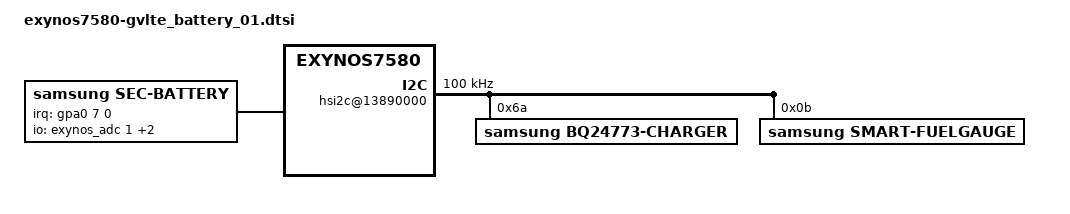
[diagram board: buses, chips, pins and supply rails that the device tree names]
/*
 * SAMSUNG UNIVERSAL7580 board device tree source
 *
 * Copyright (c) 2013 Samsung Electronics Co., Ltd.
 *		http://www.samsung.com
 *
 * This program is free software; you can redistribute it and/or modify
 * it under the terms of the GNU General Public License version 2 as
 * published by the Free Software Foundation.
*/

/ {
	pinctrl@139B0000{
		cable_irq: cable-irq {
			samsung,pins = "gpa0-7";
			samsung,pin-function = <0>;
			samsung,pin-pud = <0>;
			samsung,pin-drv = <0>;
		};
		jig_irq: jig-irq {
			samsung,pins = "gpa0-5";
			samsung,pin-function = <0>;
			samsung,pin-pud = <0>;
			samsung,pin-drv = <0>;
		};
	};

	pinctrl@139C0000 {
		otg_en: otg-en {
			samsung,pins = "gpd1-5";
			samsung,pin-function = <1>;
			samsung,pin-pud = <0>;
		};
        };

	battery {
		status = "okay";
		compatible = "samsung,sec-battery";
		pinctrl-names = "default";
		pinctrl-0 = <&cable_irq>, <&jig_irq>;
		interrupt-parent = <&gpa0>;
		interrupts = <7 0 0>, <5 0 0>;
		battery,cable_irq = <&gpa0 7 0>;
		battery,jig_irq = <&gpa0 5 0>;
		battery,vendor = "SDI SDI";
		battery,charger_name = "bq24773-charger";
		battery,fuelgauge_name = "smart-fuelgauge";
		battery,technology = <2>; /* POWER_SUPPLY_TECHNOLOGY_LION */

		battery,chip_vendor = "LSI";
		battery,temp_adc_type = <1>; /* SEC_BATTERY_ADC_TYPE_AP */

		battery,polling_time = <10 30 30 30 3600>;
		battery,chg_temp_check = <0>;

		battery,input_current_limit = <1600 1000 0 1600 460 900 1000 460 1000 0 820 1900 1800 0 0 400 700 1300 300 1000 1500 0 1667 1000 1667 80 1800 1667 1400 1000 1000>;
		battery,fast_charging_current = <1728 0 0 1728 460 1200 1000 460 1200 0 1200 1600 2100 0 0 400 700 1300 300 1000 1500 0 2600 1000 2600 80 1800 1000 1400 0 1000>;
		battery,full_check_current_1st = <500 0 0 500 500 500 500 500 500 0 500 500 500 0 0 500 500 500 500 500 500 0 500 500 500 0 500 500 500 0 500>;
		battery,full_check_current_2nd = <150 0 0 150 150 150 150 150 150 0 150 150 150 0 0 150 150 150 150 150 150 0 150 150 150 0 150 150 150 0 150>;

		battery,adc_check_count = <5>;

		battery,inbat_voltage = <1>;

		battery,inbat_voltage_table_adc = <3057 2954 2850 2747 2644 2540 2438 2335 2229 2024 1818 1612 1405 1197 987>;
		battery,inbat_voltage_table_data = <1300 1250 1200 1150 1100 1050 1000 950 900 800 700 600 500 400 300>;

		battery,cable_check_type = <8>; /* SEC_BATTERY_CABLE_CHECK_INT */
		battery,cable_source_type = <1>; /* SEC_BATTERY_CABLE_SOURCE_EXTERNAL */
		battery,event_waiting_time = <600>;
		battery,polling_type = <1>; /* SEC_BATTERY_MONITOR_ALARM */
		battery,monitor_initial_count = <0>;

		battery,battery_check_type = <0>; /* SEC_BATTERY_CHECK_CHARGER */
		battery,check_count = <0>;
		battery,check_adc_max = <1440>;
		battery,check_adc_min = <0>;

		battery,ovp_uvlo_check_type = <5>; /* SEC_BATTERY_OVP_UVLO_CHGPOLLING */

		battery,thermal_source = <0>; /* SEC_BATTERY_THERMAL_SOURCE_FG */

		battery,temp_check_type = <2>; /* _BATTERY_TEMP_CHECK_TEMP */
		battery,temp_check_count = <1>;
		battery,temp_highlimit_threshold_event = <800>;
		battery,temp_highlimit_recovery_event = <750>;
		battery,temp_high_threshold_event = <580>;
		battery,temp_high_recovery_event = <530>;
		battery,temp_low_threshold_event = <0>;
		battery,temp_low_recovery_event = <50>;
		battery,temp_highlimit_threshold_normal = <800>;
		battery,temp_highlimit_recovery_normal = <750>;
		battery,temp_high_threshold_normal = <580>;
		battery,temp_high_recovery_normal = <530>;
		battery,temp_low_threshold_normal = <0>;
		battery,temp_low_recovery_normal = <50>;
		battery,temp_highlimit_threshold_lpm = <800>;
		battery,temp_highlimit_recovery_lpm = <750>;
		battery,temp_high_threshold_lpm = <580>;
		battery,temp_high_recovery_lpm = <530>;
		battery,temp_low_threshold_lpm = <0>;
		battery,temp_low_recovery_lpm = <50>;
		battery,full_check_type = <2>; /* SEC_BATTERY_FULLCHARGED_CHGPSY */
		battery,full_check_type_2nd = <8>; /* SEC_BATTERY_FULLCHARGED_CHGPSY */
		battery,full_check_count = <1>;
		battery,chg_gpio_full_check = <0>;
		battery,chg_polarity_full_check = <1>;

		battery,chg_high_temp_1st = <530>;
		battery,chg_high_temp_2nd = <530>;
		battery,chg_high_temp_recovery = <525>;
		battery,chg_charging_limit_current = <1300>;
		battery,chg_charging_limit_current_2nd = <1300>;
		battery,chg_skip_check_capacity = <10>;
		battery,chg_skip_check_time = <600>;

		/* SEC_BATTERY_FULL_CONDITION_SOC |
		   SEC_BATTERY_FULL_CONDITION_NOTIMEFULL |
		   SEC_BATTERY_FULL_CONDITION_VCELL */
		battery,full_condition_type = <13>;
		battery,full_condition_soc = <93>;
		battery,full_condition_vcell = <12750>;

		battery,recharge_check_count = <2>;
		battery,recharge_condition_type = <4>; /* SEC_BATTERY_RECHARGE_CONDITION_VCELL */
		battery,recharge_condition_soc = <98>;
		battery,recharge_condition_vcell = <12900>;

		battery,charging_total_time = <21600>;
		battery,recharging_total_time = <5400>;
		battery,charging_reset_time = <0>;

		battery,chg_float_voltage = <13050>;

		battery,swelling_high_temp_block = <450>;
		battery,swelling_high_temp_recov = <400>;
		battery,swelling_low_temp_block = <(-300)>;
		battery,swelling_low_temp_recov = <(-300)>;
		battery,swelling_chg_current = <1300>;
		battery,swelling_drop_float_voltage = <12600>;
		battery,swelling_high_rechg_voltage = <12450>;
		battery,swelling_low_rechg_voltage = <4050>;
		battery,swelling_block_time = <600>;

		battery,always_enable;

		io-channels = <&exynos_adc 1>, <&exynos_adc 4>, <&exynos_adc 3>;
		io-channel-names = "adc-temp", "chg-adc-temp", "in-bat-adc";
		#io-channel-cells = <3>;
		io-channel-ranges;
	};

	hsi2c@13890000 {
		status = "okay";
		clock-frequency = <100000>;
		bq24773-charger@6A {
			compatible = "samsung,bq24773-charger";
			reg = <0x6A>;

			pinctrl-names = "default";
			pinctrl-0 = <&otg_en>;
			charger,otg_en = <&gpd1 5 0>;

			battery,chg_float_voltage = <13050>;
		};
		smart-fuelgauge@0B {
			compatible = "samsung,smart-fuelgauge";
			reg = <0x0B>;
			fuelgauge,fuel_alert_soc = <1>;
			fuelgauge,capacity_max = <100>;
			fuelgauge,capacity_max_margin = <3>;
			fuelgauge,capacity_min = <0>;
			fuelgauge,capacity_calculation_type = <28>;
			fuelgauge,repeated_fuelalert;
			fuelgauge,type_str = "SDI";
		};
	};
};
